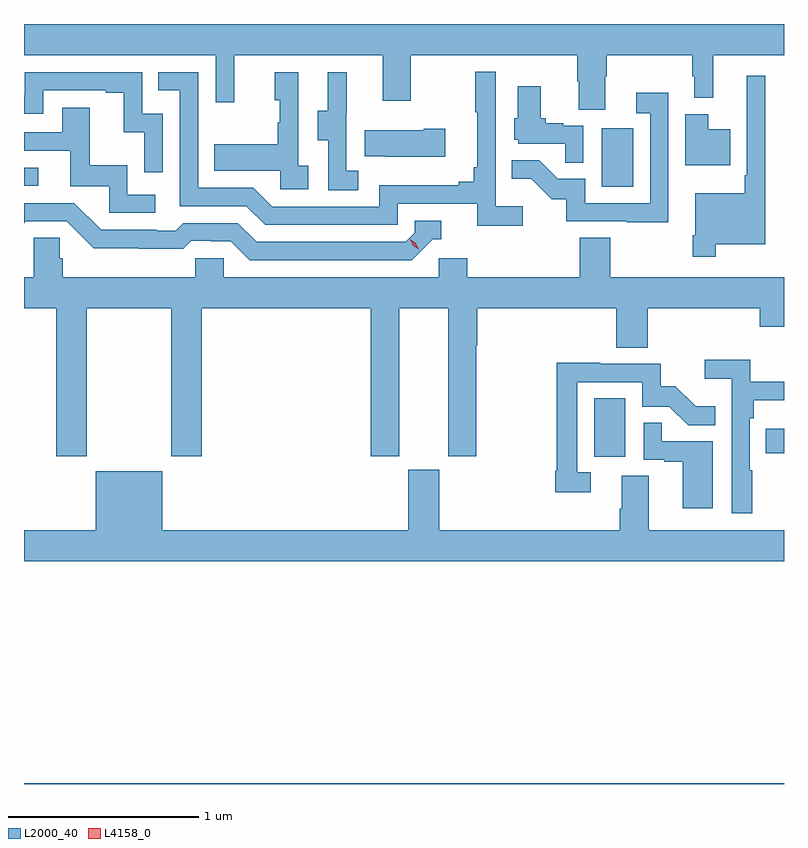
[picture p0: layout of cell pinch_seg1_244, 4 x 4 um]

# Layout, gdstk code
import gdstk
lib = gdstk.Library(unit=1e-6, precision=1e-09)
def R(c, l, rs):  # rectangles x0, y0, x1, y1
    for r in rs: c.add(gdstk.rectangle(r[:2], r[2:], *l))
def P(c, l, *ps):  # polygons
    for p in ps: c.add(gdstk.Polygon(p, *l))
L2000_40 = (2000, 40)
L4158_0 = (4158, 0)

pinch_seg1_244 = lib.new_cell('pinch_seg1_244')
R(pinch_seg1_244, L2000_40, [(900.47,573.204,904.47,573.208), (903.47,574.926,903.634,575.233), (904.375,574.945,904.47,575.074), (903.512,576.348,903.676,576.655), (900.47,576.354,900.544,576.447)])
P(pinch_seg1_244, L2000_40, [(903.529,576.928),(903.537,576.928),(903.537,577.04),(903.987,577.04),(903.987,576.928),(903.998,576.928),(903.998,576.815),(904.097,576.815),(904.097,577.04),(904.47,577.04),(904.47,577.204),(900.47,577.204),(900.47,577.04),(901.479,577.04),(901.479,576.792),(901.577,576.792),(901.577,577.04),(902.357,577.04),(902.357,576.801),(902.505,576.801),(902.505,577.04),(903.382,577.04),(903.382,576.903),(903.389,576.903),(903.389,576.754),(903.529,576.754)],
  [(903.094,576.244),(902.952,576.244),(902.952,576.952),(902.844,576.952),(902.844,576.739),(902.855,576.739),(902.855,576.451),(902.836,576.451),(902.836,576.374),(902.759,576.374),(902.759,576.355),(902.34,576.355),(902.34,576.243),(901.776,576.243),(901.677,576.342),(901.386,576.342),(901.386,576.951),(901.177,576.951),(901.177,576.855),(901.29,576.855),(901.29,576.246),(901.64,576.246),(901.739,576.147),(902.436,576.147),(902.436,576.258),(902.855,576.258),(902.855,576.142),(903.094,576.142)],
  [(901.2,576.732),(901.092,576.732),(901.092,576.951),(900.474,576.951),(900.474,576.828),(900.47,576.828),(900.47,576.732),(900.57,576.732),(900.57,576.855),(900.899,576.855),(900.899,576.843),(900.995,576.843),(900.995,576.635),(901.104,576.635),(901.104,576.423),(901.2,576.423)],
  [(901.966,576.458),(901.914,576.458),(901.914,576.949),(901.79,576.949),(901.79,576.804),(901.816,576.804),(901.816,576.686),(901.806,576.686),(901.806,576.571),(901.471,576.571),(901.471,576.431),(901.818,576.431),(901.818,576.333),(901.966,576.333)],
  [(902.23,576.431),(902.166,576.431),(902.166,576.735),(902.168,576.735),(902.168,576.949),(902.069,576.949),(902.069,576.747),(902.015,576.747),(902.015,576.592),(902.07,576.592),(902.07,576.328),(902.23,576.328)],
  [(904.111,576.044),(904.372,576.044),(904.372,576.931),(904.275,576.931),(904.275,576.409),(904.263,576.409),(904.263,576.313),(904.002,576.313),(904.002,576.091),(903.99,576.091),(903.99,575.979),(904.111,575.979)],
  [(903.414,576.669),(903.308,576.669),(903.308,576.682),(903.216,576.682),(903.216,576.708),(903.19,576.708),(903.19,576.877),(903.068,576.877),(903.068,576.708),(903.05,576.708),(903.05,576.594),(903.072,576.594),(903.072,576.573),(903.319,576.573),(903.319,576.475),(903.414,576.475)],
  [(903.861,576.841),(903.693,576.841),(903.693,576.735),(903.765,576.735),(903.765,576.261),(903.423,576.261),(903.423,576.39),(903.279,576.39),(903.181,576.488),(903.037,576.488),(903.037,576.389),(903.141,576.389),(903.248,576.282),(903.325,576.282),(903.325,576.165),(903.643,576.165),(903.643,576.16),(903.861,576.16)],
  [(901.162,576.306),(901.014,576.306),(901.014,576.46),(900.815,576.46),(900.815,576.763),(900.671,576.763),(900.671,576.633),(900.47,576.633),(900.47,576.537),(900.713,576.537),(900.713,576.351),(900.918,576.351),(900.918,576.21),(901.162,576.21)],
  [(904.186,576.649),(904.072,576.649),(904.072,576.73),(903.95,576.73),(903.95,576.461),(904.186,576.461)],
  [(902.686,576.654),(902.573,576.654),(902.573,576.646),(902.263,576.646),(902.263,576.509),(902.371,576.509),(902.371,576.506),(902.686,576.506)],
  [(902.622,576.072),(902.665,576.072),(902.665,576.168),(902.526,576.168),(902.526,576.105),(902.478,576.057),(901.695,576.057),(901.596,576.156),(901.307,576.156),(901.268,576.117),(901.169,576.117),(901.169,576.12),(900.876,576.12),(900.735,576.261),(900.47,576.261),(900.47,576.155),(900.48,576.165),(900.696,576.165),(900.838,576.023),(901.074,576.023),(901.074,576.021),(901.307,576.021),(901.349,576.063),(901.452,576.063),(901.452,576.06),(901.559,576.06),(901.658,575.961),(902.511,575.961)],
  [(900.801,575.708),(901.246,575.708),(901.246,574.929),(901.406,574.929),(901.406,575.708),(902.294,575.708),(902.294,574.929),(902.446,574.929),(902.446,575.708),(902.702,575.708),(902.702,574.929),(902.85,574.929),(902.85,575.512),(902.855,575.512),(902.855,575.708),(903.587,575.708),(903.587,575.5),(903.752,575.5),(903.752,575.708),(904.343,575.708),(904.343,575.61),(904.47,575.61),(904.47,575.872),(903.555,575.872),(903.555,576.08),(903.395,576.08),(903.395,575.872),(902.804,575.872),(902.804,575.97),(902.652,575.97),(902.652,575.872),(901.521,575.872),(901.521,575.97),(901.371,575.97),(901.371,575.872),(900.674,575.872),(900.674,575.97),(900.659,575.97),(900.659,576.08),(900.522,576.08),(900.522,575.872),(900.47,575.872),(900.47,575.708),(900.641,575.708),(900.641,574.929),(900.801,574.929)],
  [(904.303,574.856),(904.29,574.856),(904.29,575.129),(904.31,575.129),(904.31,575.225),(904.47,575.225),(904.47,575.322),(904.292,575.322),(904.292,575.438),(904.053,575.438),(904.053,575.336),(904.194,575.336),(904.194,574.629),(904.303,574.629)],
  [(903.454,574.845),(903.381,574.845),(903.381,575.319),(903.723,575.319),(903.723,575.19),(903.867,575.19),(903.965,575.092),(904.109,575.092),(904.109,575.191),(904.005,575.191),(903.898,575.298),(903.822,575.298),(903.822,575.415),(903.503,575.415),(903.503,575.42),(903.273,575.42),(903.273,574.852),(903.265,574.852),(903.265,574.74),(903.454,574.74)],
  [(904.096,575.007),(903.827,575.007),(903.827,575.105),(903.732,575.105),(903.732,574.911),(903.839,574.911),(903.839,574.899),(903.938,574.899),(903.938,574.656),(904.096,574.656)],
  [(904.47,574.54),(903.757,574.54),(903.757,574.826),(903.617,574.826),(903.617,574.652),(903.605,574.652),(903.605,574.54),(902.656,574.54),(902.656,574.857),(902.492,574.857),(902.492,574.54),(901.198,574.54),(901.198,574.849),(900.848,574.849),(900.848,574.54),(900.47,574.54),(900.47,574.376),(904.47,574.376)])
P(pinch_seg1_244, L4158_0, [(902.548,576.019),(902.518,576.038),(902.502,576.07),(902.502,576.071),(902.502,576.071),(902.532,576.051),(902.548,576.019),(902.548,576.019)])

lib.write_gds('pinch_seg1_244.gds')
